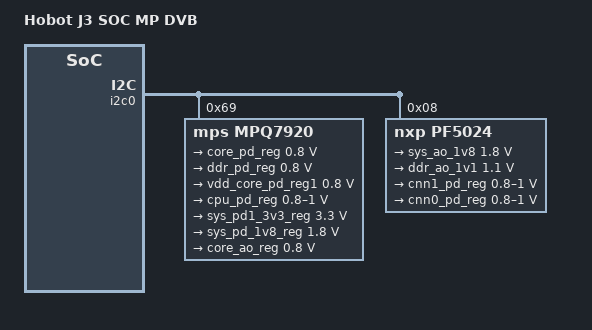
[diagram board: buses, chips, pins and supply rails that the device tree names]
/*
 * dts file for Hobot J3 DVB
 *
 * (C) Copyright 2018, Horizon, Inc.
 *
 *
 * This program is free software; you can redistribute it and/or
 * modify it under the terms of the GNU General Public License as
 * published by the Free Software Foundation; either version 2 of
 * the License, or (at your option) any later version.
 */

/dts-v1/;
#include "hobot-xj3-xvb.dtsi"

/ {
	model = "Hobot J3 SOC MP DVB";
};

&i2c0 {
	mpq7920@69 {
		compatible = "mps,mpq7920";
		reg = <0x69>;
		regulators {
			core_pd_reg: DCDC1 {
				regulator-name = "VDD_CORE_PD";
				regulator-min-microvolt = <800000>;
				regulator-max-microvolt = <800000>;
				regulator-always-on;
			};

			ddr_pd_reg: DCDC2 {
				regulator-name = "VDD_DDR_PD";
				regulator-min-microvolt = <800000>;
				regulator-max-microvolt = <800000>;
				regulator-always-on;
			};

			vdd_core_pd_reg1: DCDC3 {
				regulator-name = "VDD_CORE_PD1";
				regulator-min-microvolt = <800000>;
				regulator-max-microvolt = <800000>;
				regulator-always-on;
			};

			cpu_pd_reg: DCDC4 {
				regulator-name = "VCC_CPU";
				regulator-min-microvolt = <800000>;
				regulator-max-microvolt = <1000000>;
				regulator-always-on;
			};

			sys_pd1_3v3_reg: LDO3 {
				regulator-name = "VDD_3V3";
				regulator-min-microvolt = <3300000>;
				regulator-max-microvolt = <3300000>;
				regulator-always-on;
			};

			sys_pd_1v8_reg: LDO4 {
				regulator-name = "VDD_1V8";
				regulator-min-microvolt = <1800000>;
				regulator-max-microvolt = <1800000>;
				regulator-always-on;
			};

			core_ao_reg: LDO5 {
				regulator-name = "VDD_CORE_AO";
				regulator-min-microvolt = <800000>;
				regulator-max-microvolt = <800000>;
				regulator-always-on;
			};
		};
	};

	pf5024@08 {
		compatible = "nxp,pf5024";
		reg = <0x8>;
		regulators {
			sys_ao_1v8: DCDC1 {
				regulator-name = "SYS_AO_1V8";
				regulator-min-microvolt = <1800000>;
				regulator-max-microvolt = <1800000>;
				regulator-always-on;
			};

			ddr_ao_1v1: DCDC2 {
				regulator-name = "DDR_AO_1V1";
				regulator-min-microvolt = <1100000>;
				regulator-max-microvolt = <1100000>;
				regulator-always-on;
			};

			cnn1_pd_reg: DCDC3 {
				regulator-name = "VCC_CNN1";
				regulator-min-microvolt = <800000>;
				regulator-max-microvolt = <1000000>;
				regulator-enable-ramp-delay = <3000>;
			};

			cnn0_pd_reg: DCDC4 {
				regulator-name = "VCC_CNN0";
				regulator-min-microvolt = <800000>;
				regulator-max-microvolt = <1000000>;
				regulator-enable-ramp-delay = <3000>;
			};

		};
	};

};

&cpu0 {
	cpu-supply = <&cpu_pd_reg>;
};

&cpu1 {
	cpu-supply = <&cpu_pd_reg>;
};

&cpu2 {
	cpu-supply = <&cpu_pd_reg>;
};

&cpu3 {
	cpu-supply = <&cpu_pd_reg>;
};

&cnn0 {
	cnn-supply = <&cnn0_pd_reg>;
};

&cnn1 {
	cnn-supply = <&cnn1_pd_reg>;
};

&sdio1 {
	powerup-gpio = <1>;	/* j3-dvb EN_VDD_CNN0/GPIO0[1] */
	powerup-logic = <1>;
};

&sdio2 {
	powerup-gpio = <4>;	/* j3-dvb JTG_TRSTN/GPIO0[4] */
};

&mipi_host0 {
	pinctrl-0 = <&sensor0_func>;
	pinctrl-1 = <&sensor0_gpio_func>;
	snrclk-idx = <0>;
};

&mipi_host1 {
	pinctrl-0 = <&sensor1_func>;
	pinctrl-1 = <&sensor1_gpio_func>;
	snrclk-idx = <1>;
};
